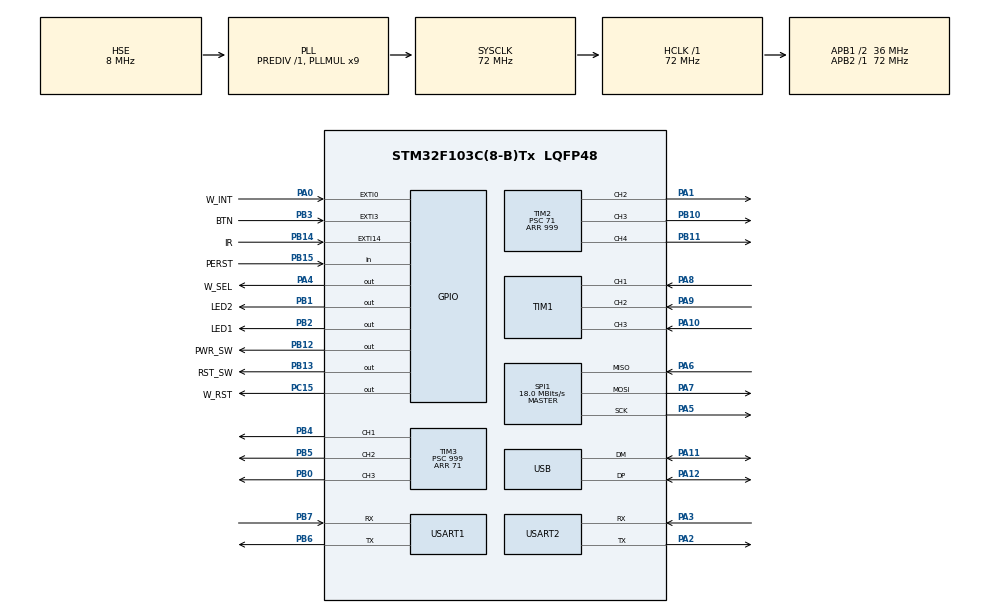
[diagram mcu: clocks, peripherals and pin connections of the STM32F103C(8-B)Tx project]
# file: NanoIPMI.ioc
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ADC1.Channel-0\#ChannelRegularConversion=ADC_CHANNEL_TEMPSENSOR
ADC1.ContinuousConvMode=DISABLE
ADC1.DataAlign=ADC_DATAALIGN_RIGHT
ADC1.DiscontinuousConvMode=DISABLE
ADC1.EnableAnalogWatchDog=false
ADC1.EnableRegularConversion=ENABLE
ADC1.ExternalTrigConv=ADC_SOFTWARE_START
ADC1.InjNumberOfConversion=0
ADC1.NbrOfConversion=1
ADC1.NbrOfConversionFlag=1
ADC1.Rank-0\#ChannelRegularConversion=1
ADC1.SamplingTime-0\#ChannelRegularConversion=ADC_SAMPLETIME_239CYCLES_5
ADC1.ScanConvMode=ADC_SCAN_DISABLE
ADC1.master=1
Mcu.Family=STM32F1
Mcu.Name=STM32F103C(8-B)Tx
Mcu.Package=LQFP48
NVIC.EXTI15_10_IRQn=true\:0\:0\:false\:false\:true
NVIC.EXTI3_IRQn=true\:0\:2\:false\:false\:true
NVIC.PriorityGroup=NVIC_PRIORITYGROUP_0
NVIC.TIM4_IRQn=true\:0\:2\:false\:false\:true
NVIC.USART2_IRQn=true\:0\:1\:false\:false\:true
NVIC.USB_LP_CAN1_RX0_IRQn=true\:0\:0\:false\:false\:true
PA0-WKUP.GPIO_Label=W_INT
PA0-WKUP.GPIO_PuPd=GPIO_PULLDOWN
PA0-WKUP.Signal=GPXTI0
PA1.Signal=S_TIM2_CH2
PA10.GPIO_PuPd=GPIO_PULLUP
PA10.Signal=S_TIM1_CH3
PA11.Mode=Device
PA11.Signal=USB_DM
PA12.Mode=Device
PA12.Signal=USB_DP
PA13.Mode=Serial_Wire
PA13.Signal=SYS_JTMS-SWDIO
PA14.Mode=Serial_Wire
PA14.Signal=SYS_JTCK-SWCLK
PA2.Mode=Asynchronous
PA2.Signal=USART2_TX
PA3.Mode=Asynchronous
PA3.Signal=USART2_RX
PA4.GPIO_Label=W_SEL
PA4.GPIO_Speed=GPIO_SPEED_FREQ_HIGH
PA4.Signal=GPIO_Output
PA5.Mode=Full_Duplex_Master
PA5.Signal=SPI1_SCK
PA6.Mode=Full_Duplex_Master
PA6.Signal=SPI1_MISO
PA7.Mode=Full_Duplex_Master
PA7.Signal=SPI1_MOSI
PA8.GPIO_PuPd=GPIO_PULLUP
PA8.Signal=S_TIM1_CH1
PA9.GPIO_PuPd=GPIO_PULLUP
PA9.Signal=S_TIM1_CH2
PB0.Signal=S_TIM3_CH3
PB1.GPIO_Label=LED2
PB1.GPIO_ModeDefaultOutputPP=GPIO_MODE_OUTPUT_OD
PB1.PinState=GPIO_PIN_SET
PB1.Signal=GPIO_Output
PB10.Signal=S_TIM2_CH3
PB11.Signal=S_TIM2_CH4
PB12.GPIO_Label=PWR_SW
PB12.GPIO_ModeDefaultOutputPP=GPIO_MODE_OUTPUT_OD
PB12.PinState=GPIO_PIN_SET
PB12.Signal=GPIO_Output
PB13.GPIO_Label=RST_SW
PB13.GPIO_ModeDefaultOutputPP=GPIO_MODE_OUTPUT_OD
PB13.PinState=GPIO_PIN_SET
PB13.Signal=GPIO_Output
PB14.GPIO_Label=IR
PB14.GPIO_ModeDefaultEXTI=GPIO_MODE_IT_RISING_FALLING
PB14.GPIO_PuPd=GPIO_PULLUP
PB14.Signal=GPXTI14
PB15.GPIO_Label=PERST
PB15.GPIO_PuPd=GPIO_PULLUP
PB15.Signal=GPIO_Input
PB2.GPIO_Label=LED1
PB2.GPIO_ModeDefaultOutputPP=GPIO_MODE_OUTPUT_OD
PB2.PinState=GPIO_PIN_SET
PB2.Signal=GPIO_Output
PB3.GPIO_Label=BTN
PB3.GPIO_ModeDefaultEXTI=GPIO_MODE_IT_RISING_FALLING
PB3.GPIO_PuPd=GPIO_PULLUP
PB3.Signal=GPXTI3
PB4.Signal=S_TIM3_CH1
PB5.Signal=S_TIM3_CH2
PB6.Mode=Asynchronous
PB6.Signal=USART1_TX
PB7.Mode=Asynchronous
PB7.Signal=USART1_RX
PC15-OSC32_OUT.GPIO_Label=W_RST
PC15-OSC32_OUT.Signal=GPIO_Output
PD0-OSC_IN.Mode=HSE-External-Oscillator
PD0-OSC_IN.Signal=RCC_OSC_IN
PD1-OSC_OUT.Mode=HSE-External-Oscillator
PD1-OSC_OUT.Signal=RCC_OSC_OUT
ProjectManager.HeapSize=0x200
ProjectManager.StackSize=0x400
ProjectManager.TargetToolchain=Makefile
RCC.ADCPresc=RCC_ADCPCLK2_DIV6
RCC.AHBFreq_Value=72000000
RCC.APB1CLKDivider=RCC_HCLK_DIV2
RCC.APB1Freq_Value=36000000
RCC.APB1TimFreq_Value=72000000
RCC.APB2Freq_Value=72000000
RCC.APB2TimFreq_Value=72000000
RCC.HCLKFreq_Value=72000000
RCC.PLLMUL=RCC_PLL_MUL9
RCC.SYSCLKFreq_VALUE=72000000
RCC.SYSCLKSource=RCC_SYSCLKSOURCE_PLLCLK
RCC.USBFreq_Value=48000000
RCC.USBPrescaler=RCC_USBCLKSOURCE_PLL_DIV1_5
SH.S_TIM1_CH1.0=TIM1_CH1,Input_Capture1_from_TI1
SH.S_TIM1_CH2.0=TIM1_CH2,Input_Capture2_from_TI2
SH.S_TIM1_CH3.0=TIM1_CH3,Input_Capture3_from_TI3
SH.S_TIM2_CH2.0=TIM2_CH2,PWM Generation2 CH2
SH.S_TIM2_CH3.0=TIM2_CH3,PWM Generation3 CH3
SH.S_TIM2_CH4.0=TIM2_CH4,PWM Generation4 CH4
SH.S_TIM3_CH1.0=TIM3_CH1,PWM Generation1 CH1
SH.S_TIM3_CH2.0=TIM3_CH2,PWM Generation2 CH2
SH.S_TIM3_CH3.0=TIM3_CH3,PWM Generation3 CH3
SPI1.BaudRatePrescaler=SPI_BAUDRATEPRESCALER_4
SPI1.CalculateBaudRate=18.0 MBits/s
SPI1.Direction=SPI_DIRECTION_2LINES
SPI1.Mode=SPI_MODE_MASTER
SPI1.VirtualType=VM_MASTER
TIM1.Channel-Input_Capture1_from_TI1=TIM_CHANNEL_1
TIM1.Channel-Input_Capture2_from_TI2=TIM_CHANNEL_2
TIM1.Channel-Input_Capture3_from_TI3=TIM_CHANNEL_3
TIM2.Channel-PWM\ Generation2\ CH2=TIM_CHANNEL_2
TIM2.Channel-PWM\ Generation3\ CH3=TIM_CHANNEL_3
TIM2.Channel-PWM\ Generation4\ CH4=TIM_CHANNEL_4
TIM2.Period=999
TIM2.Prescaler=71
TIM2.Pulse-PWM\ Generation2\ CH2=500
TIM2.Pulse-PWM\ Generation3\ CH3=500
TIM2.Pulse-PWM\ Generation4\ CH4=500
TIM3.Channel-PWM\ Generation1\ CH1=TIM_CHANNEL_1
TIM3.Channel-PWM\ Generation2\ CH2=TIM_CHANNEL_2
TIM3.Channel-PWM\ Generation3\ CH3=TIM_CHANNEL_3
TIM3.Period=71
TIM3.Prescaler=999
TIM3.Pulse-PWM\ Generation1\ CH1=80
TIM3.Pulse-PWM\ Generation2\ CH2=80
TIM3.Pulse-PWM\ Generation3\ CH3=80
TIM4.Period=12000
TIM4.Prescaler=71
USART1.VirtualMode=VM_ASYNC
USART2.VirtualMode=VM_ASYNC
USB_DEVICE.CLASS_NAME_FS=CDC
USB_DEVICE.VirtualMode=Cdc
USB_DEVICE.VirtualModeFS=Cdc_FS
VP_ADC1_TempSens_Input.Mode=IN-TempSens
VP_CRC_VS_CRC.Mode=CRC_Activate
VP_TIM1_VS_ClockSourceINT.Mode=Internal
VP_TIM2_VS_ClockSourceINT.Mode=Internal
VP_TIM3_VS_ClockSourceINT.Mode=Internal
VP_TIM4_VS_ClockSourceINT.Mode=Internal
VP_USB_DEVICE_VS_USB_DEVICE_CDC_FS.Mode=CDC_FS
board=NanoIPMI

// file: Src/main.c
/**
  ******************************************************************************
  * File Name          : main.c
  * Description        : Main program body
  ******************************************************************************
  * This notice applies to any and all portions of this file
  * that are not between comment pairs USER CODE BEGIN and
  * USER CODE END. Other portions of this file, whether
  * inserted by the user or by software development tools
  * are owned by their respective copyright owners.
  *
  * Copyright (c) 2017 STMicroelectronics International N.V.
  * All rights reserved.
  *
  * Redistribution and use in source and binary forms, with or without
  * modification, are permitted, provided that the following conditions are met:
  *
  * 1. Redistribution of source code must retain the above copyright notice,
  *    this list of conditions and the following disclaimer.
  * 2. Redistributions in binary form must reproduce the above copyright notice,
  *    this list of conditions and the following disclaimer in the documentation
  *    and/or other materials provided with the distribution.
  * 3. Neither the name of STMicroelectronics nor the names of other
  *    contributors to this software may be used to endorse or promote products
  *    derived from this software without specific written permission.
  * 4. This software, including modifications and/or derivative works of this
  *    software, must execute solely and exclusively on microcontroller or
  *    microprocessor devices manufactured by or for STMicroelectronics.
  * 5. Redistribution and use of this software other than as permitted under
  *    this license is void and will automatically terminate your rights under
  *    this license.
  *
  * THIS SOFTWARE IS PROVIDED BY STMICROELECTRONICS AND CONTRIBUTORS "AS IS"
  * AND ANY EXPRESS, IMPLIED OR STATUTORY WARRANTIES, INCLUDING, BUT NOT
  * LIMITED TO, THE IMPLIED WARRANTIES OF MERCHANTABILITY, FITNESS FOR A
  * PARTICULAR PURPOSE AND NON-INFRINGEMENT OF THIRD PARTY INTELLECTUAL PROPERTY
  * RIGHTS ARE DISCLAIMED TO THE FULLEST EXTENT PERMITTED BY LAW. IN NO EVENT
  * SHALL STMICROELECTRONICS OR CONTRIBUTORS BE LIABLE FOR ANY DIRECT, INDIRECT,
  * INCIDENTAL, SPECIAL, EXEMPLARY, OR CONSEQUENTIAL DAMAGES (INCLUDING, BUT NOT
  * LIMITED TO, PROCUREMENT OF SUBSTITUTE GOODS OR SERVICES; LOSS OF USE, DATA,
  * OR PROFITS; OR BUSINESS INTERRUPTION) HOWEVER CAUSED AND ON ANY THEORY OF
  * LIABILITY, WHETHER IN CONTRACT, STRICT LIABILITY, OR TORT (INCLUDING
  * NEGLIGENCE OR OTHERWISE) ARISING IN ANY WAY OUT OF THE USE OF THIS SOFTWARE,
  * EVEN IF ADVISED OF THE POSSIBILITY OF SUCH DAMAGE.
  *
  ******************************************************************************
  */
#include "main.h"
#include "stm32f1xx_hal.h"
#include "usb_device.h"

/* USER CODE BEGIN Includes */
#include "network.h"
#include "ipmi-app.h"
#include "led.h"
#include "nec_decode.h"
#include "fwupdate.h"
#include "host_uart.h"
#include "stm32f1xx_ll_usart.h"
#include "stm32f1xx_ll_crc.h"
#include "common.h"
/* USER CODE END Includes */

ADC_HandleTypeDef hadc1;

CRC_HandleTypeDef hcrc;

SPI_HandleTypeDef hspi1;

TIM_HandleTypeDef htim1;
TIM_HandleTypeDef htim2;
TIM_HandleTypeDef htim3;
TIM_HandleTypeDef htim4;

UART_HandleTypeDef huart1;
UART_HandleTypeDef huart2;

/* USER CODE BEGIN PV */
/* Private variables ---------------------------------------------------------*/
static uint32_t btnEvent = 0;
extern const volatile uint32_t _usr_app_addr; //defined in linker script
/* USER CODE END PV */

void SystemClock_Config(void);
static void MX_GPIO_Init(void);
static void MX_USART2_UART_Init(void);
static void MX_SPI1_Init(void);
static void MX_USART1_UART_Init(void);
static void MX_ADC1_Init(void);
static void MX_TIM1_Init(void);
static void MX_TIM2_Init(void);
static void MX_TIM3_Init(void);
static void MX_TIM4_Init(void);
static void MX_CRC_Init(void);

void HAL_TIM_MspPostInit(TIM_HandleTypeDef *htim);

/* USER CODE BEGIN PFP */
/* Private function prototypes -----------------------------------------------*/
void ATX_Task(void);

/* USER CODE END PFP */

/* USER CODE BEGIN 0 */
static void btnDetectionTask(void)
{
    btnEvent = 1;
}
uint8_t BTN_GetEvent(void)
{
    uint8_t tmp = btnEvent;
    btnEvent = 0;
    return tmp;
}

void HAL_GPIO_EXTI_Callback(uint16_t GPIO_Pin){
    if(GPIO_Pin == IR_Pin){
        NEC_HandleEXTI();
    }else if(GPIO_Pin == BTN_Pin){
        btnDetectionTask();
    }
}
/* USER CODE END 0 */

int main(void)
{

  /* USER CODE BEGIN 1 */
  SCB->VTOR = &_usr_app_addr;

  /* USER CODE END 1 */

  /* MCU Configuration----------------------------------------------------------*/

  /* Reset of all peripherals, Initializes the Flash interface and the Systick. */
  HAL_Init();

  /* Configure the system clock */
  SystemClock_Config();

  /* Initialize all configured peripherals */
  MX_GPIO_Init();
  MX_USART2_UART_Init();
  MX_USB_DEVICE_Init();
  MX_SPI1_Init();
  MX_USART1_UART_Init();
  MX_ADC1_Init();
  MX_TIM1_Init();
  MX_TIM2_Init();
  MX_TIM3_Init();
  MX_TIM4_Init();
  MX_CRC_Init();

  /* USER CODE BEGIN 2 */
  __enable_irq();
  printf("  \r\n\r\n");
  LOG_INFO("MCU Initialized");
  HAL_ADCEx_Calibration_Start(&hadc1);
  NEC_Init();
  HostUART_Init();
  Network_ChipInit();
  Network_AppInit();

  /*
  for(;;){
    printf("temp=%d\n", ADC_getTemperatureReading());
    HAL_Delay(1000);
  }
  */

  /* USER CODE END 2 */

  /* Infinite loop */
  while (1)
  {

  /* USER CODE BEGIN 3 */
    Network_Task();
    IPMIApp_Task();
    ATX_Task();
    HostUART_Task();
    FWUpdate_Task();
    LED_Task();
  }
  /* USER CODE END 3 */

}

/** System Clock Configuration
*/
void SystemClock_Config(void)
{

  RCC_OscInitTypeDef RCC_OscInitStruct;
  RCC_ClkInitTypeDef RCC_ClkInitStruct;
  RCC_PeriphCLKInitTypeDef PeriphClkInit;

    /**Initializes the CPU, AHB and APB busses clocks
    */
  RCC_OscInitStruct.OscillatorType = RCC_OSCILLATORTYPE_HSE;
  RCC_OscInitStruct.HSEState = RCC_HSE_ON;
  RCC_OscInitStruct.HSEPredivValue = RCC_HSE_PREDIV_DIV1;
  RCC_OscInitStruct.HSIState = RCC_HSI_ON;
  RCC_OscInitStruct.PLL.PLLState = RCC_PLL_ON;
  RCC_OscInitStruct.PLL.PLLSource = RCC_PLLSOURCE_HSE;
  RCC_OscInitStruct.PLL.PLLMUL = RCC_PLL_MUL9;
  if (HAL_RCC_OscConfig(&RCC_OscInitStruct) != HAL_OK)
  {
    _Error_Handler(__FILE__, __LINE__);
  }

    /**Initializes the CPU, AHB and APB busses clocks
    */
  RCC_ClkInitStruct.ClockType = RCC_CLOCKTYPE_HCLK|RCC_CLOCKTYPE_SYSCLK
                              |RCC_CLOCKTYPE_PCLK1|RCC_CLOCKTYPE_PCLK2;
  RCC_ClkInitStruct.SYSCLKSource = RCC_SYSCLKSOURCE_PLLCLK;
  RCC_ClkInitStruct.AHBCLKDivider = RCC_SYSCLK_DIV1;
  RCC_ClkInitStruct.APB1CLKDivider = RCC_HCLK_DIV2;
  RCC_ClkInitStruct.APB2CLKDivider = RCC_HCLK_DIV1;

  if (HAL_RCC_ClockConfig(&RCC_ClkInitStruct, FLASH_LATENCY_2) != HAL_OK)
  {
    _Error_Handler(__FILE__, __LINE__);
  }

  PeriphClkInit.PeriphClockSelection = RCC_PERIPHCLK_ADC|RCC_PERIPHCLK_USB;
  PeriphClkInit.AdcClockSelection = RCC_ADCPCLK2_DIV6;
  PeriphClkInit.UsbClockSelection = RCC_USBCLKSOURCE_PLL_DIV1_5;
  if (HAL_RCCEx_PeriphCLKConfig(&PeriphClkInit) != HAL_OK)
  {
    _Error_Handler(__FILE__, __LINE__);
  }

    /**Configure the Systick interrupt time
    */
  HAL_SYSTICK_Config(HAL_RCC_GetHCLKFreq()/1000);

    /**Configure the Systick
    */
  HAL_SYSTICK_CLKSourceConfig(SYSTICK_CLKSOURCE_HCLK);

  /* SysTick_IRQn interrupt configuration */
  HAL_NVIC_SetPriority(SysTick_IRQn, 0, 0);
}

/* ADC1 init function */
static void MX_ADC1_Init(void)
{

  ADC_ChannelConfTypeDef sConfig;

    /**Common config
    */
  hadc1.Instance = ADC1;
  hadc1.Init.ScanConvMode = ADC_SCAN_DISABLE;
  hadc1.Init.ContinuousConvMode = DISABLE;
  hadc1.Init.DiscontinuousConvMode = DISABLE;
  hadc1.Init.ExternalTrigConv = ADC_SOFTWARE_START;
  hadc1.Init.DataAlign = ADC_DATAALIGN_RIGHT;
  hadc1.Init.NbrOfConversion = 1;
  if (HAL_ADC_Init(&hadc1) != HAL_OK)
  {
    _Error_Handler(__FILE__, __LINE__);
  }

    /**Configure Regular Channel
    */
  sConfig.Channel = ADC_CHANNEL_TEMPSENSOR;
  sConfig.Rank = 1;
  sConfig.SamplingTime = ADC_SAMPLETIME_239CYCLES_5;
  if (HAL_ADC_ConfigChannel(&hadc1, &sConfig) != HAL_OK)
  {
    _Error_Handler(__FILE__, __LINE__);
  }

}

/* CRC init function */
static void MX_CRC_Init(void)
{

  hcrc.Instance = CRC;
  if (HAL_CRC_Init(&hcrc) != HAL_OK)
  {
    _Error_Handler(__FILE__, __LINE__);
  }

}

/* SPI1 init function */
static void MX_SPI1_Init(void)
{

  hspi1.Instance = SPI1;
  hspi1.Init.Mode = SPI_MODE_MASTER;
  hspi1.Init.Direction = SPI_DIRECTION_2LINES;
  hspi1.Init.DataSize = SPI_DATASIZE_8BIT;
  hspi1.Init.CLKPolarity = SPI_POLARITY_LOW;
  hspi1.Init.CLKPhase = SPI_PHASE_1EDGE;
  hspi1.Init.NSS = SPI_NSS_SOFT;
  hspi1.Init.BaudRatePrescaler = SPI_BAUDRATEPRESCALER_4;
  hspi1.Init.FirstBit = SPI_FIRSTBIT_MSB;
  hspi1.Init.TIMode = SPI_TIMODE_DISABLE;
  hspi1.Init.CRCCalculation = SPI_CRCCALCULATION_DISABLE;
  hspi1.Init.CRCPolynomial = 10;
  if (HAL_SPI_Init(&hspi1) != HAL_OK)
  {
    _Error_Handler(__FILE__, __LINE__);
  }

}

/* TIM1 init function */
static void MX_TIM1_Init(void)
{

  TIM_ClockConfigTypeDef sClockSourceConfig;
  TIM_MasterConfigTypeDef sMasterConfig;
  TIM_IC_InitTypeDef sConfigIC;

  htim1.Instance = TIM1;
  htim1.Init.Prescaler = 0;
  htim1.Init.CounterMode = TIM_COUNTERMODE_UP;
  htim1.Init.Period = 0;
  htim1.Init.ClockDivision = TIM_CLOCKDIVISION_DIV1;
  htim1.Init.RepetitionCounter = 0;
  htim1.Init.AutoReloadPreload = TIM_AUTORELOAD_PRELOAD_DISABLE;
  if (HAL_TIM_Base_Init(&htim1) != HAL_OK)
  {
    _Error_Handler(__FILE__, __LINE__);
  }

  sClockSourceConfig.ClockSource = TIM_CLOCKSOURCE_INTERNAL;
  if (HAL_TIM_ConfigClockSource(&htim1, &sClockSourceConfig) != HAL_OK)
  {
    _Error_Handler(__FILE__, __LINE__);
  }

  if (HAL_TIM_IC_Init(&htim1) != HAL_OK)
  {
    _Error_Handler(__FILE__, __LINE__);
  }

  sMasterConfig.MasterOutputTrigger = TIM_TRGO_RESET;
  sMasterConfig.MasterSlaveMode = TIM_MASTERSLAVEMODE_DISABLE;
  if (HAL_TIMEx_MasterConfigSynchronization(&htim1, &sMasterConfig) != HAL_OK)
  {
    _Error_Handler(__FILE__, __LINE__);
  }

  sConfigIC.ICPolarity = TIM_INPUTCHANNELPOLARITY_RISING;
  sConfigIC.ICSelection = TIM_ICSELECTION_DIRECTTI;
  sConfigIC.ICPrescaler = TIM_ICPSC_DIV1;
  sConfigIC.ICFilter = 0;
  if (HAL_TIM_IC_ConfigChannel(&htim1, &sConfigIC, TIM_CHANNEL_1) != HAL_OK)
  {
    _Error_Handler(__FILE__, __LINE__);
  }

  if (HAL_TIM_IC_ConfigChannel(&htim1, &sConfigIC, TIM_CHANNEL_2) != HAL_OK)
  {
    _Error_Handler(__FILE__, __LINE__);
  }

  if (HAL_TIM_IC_ConfigChannel(&htim1, &sConfigIC, TIM_CHANNEL_3) != HAL_OK)
  {
    _Error_Handler(__FILE__, __LINE__);
  }

}

/* TIM2 init function */
static void MX_TIM2_Init(void)
{

  TIM_ClockConfigTypeDef sClockSourceConfig;
  TIM_MasterConfigTypeDef sMasterConfig;
  TIM_OC_InitTypeDef sConfigOC;

  htim2.Instance = TIM2;
  htim2.Init.Prescaler = 71;
  htim2.Init.CounterMode = TIM_COUNTERMODE_UP;
  htim2.Init.Period = 999;
  htim2.Init.ClockDivision = TIM_CLOCKDIVISION_DIV1;
  htim2.Init.AutoReloadPreload = TIM_AUTORELOAD_PRELOAD_DISABLE;
  if (HAL_TIM_Base_Init(&htim2) != HAL_OK)
  {
    _Error_Handler(__FILE__, __LINE__);
  }

  sClockSourceConfig.ClockSource = TIM_CLOCKSOURCE_INTERNAL;
  if (HAL_TIM_ConfigClockSource(&htim2, &sClockSourceConfig) != HAL_OK)
  {
    _Error_Handler(__FILE__, __LINE__);
  }

  if (HAL_TIM_PWM_Init(&htim2) != HAL_OK)
  {
    _Error_Handler(__FILE__, __LINE__);
  }

  sMasterConfig.MasterOutputTrigger = TIM_TRGO_RESET;
  sMasterConfig.MasterSlaveMode = TIM_MASTERSLAVEMODE_DISABLE;
  if (HAL_TIMEx_MasterConfigSynchronization(&htim2, &sMasterConfig) != HAL_OK)
  {
    _Error_Handler(__FILE__, __LINE__);
  }

  sConfigOC.OCMode = TIM_OCMODE_PWM1;
  sConfigOC.Pulse = 500;
  sConfigOC.OCPolarity = TIM_OCPOLARITY_HIGH;
  sConfigOC.OCFastMode = TIM_OCFAST_DISABLE;
  if (HAL_TIM_PWM_ConfigChannel(&htim2, &sConfigOC, TIM_CHANNEL_2) != HAL_OK)
  {
    _Error_Handler(__FILE__, __LINE__);
  }

  if (HAL_TIM_PWM_ConfigChannel(&htim2, &sConfigOC, TIM_CHANNEL_3) != HAL_OK)
  {
    _Error_Handler(__FILE__, __LINE__);
  }

  if (HAL_TIM_PWM_ConfigChannel(&htim2, &sConfigOC, TIM_CHANNEL_4) != HAL_OK)
  {
    _Error_Handler(__FILE__, __LINE__);
  }

  HAL_TIM_MspPostInit(&htim2);

}

/* TIM3 init function */
static void MX_TIM3_Init(void)
{

  TIM_ClockConfigTypeDef sClockSourceConfig;
  TIM_MasterConfigTypeDef sMasterConfig;
  TIM_OC_InitTypeDef sConfigOC;

  htim3.Instance = TIM3;
  htim3.Init.Prescaler = 999;
  htim3.Init.CounterMode = TIM_COUNTERMODE_UP;
  htim3.Init.Period = 71;
  htim3.Init.ClockDivision = TIM_CLOCKDIVISION_DIV1;
  htim3.Init.AutoReloadPreload = TIM_AUTORELOAD_PRELOAD_DISABLE;
  if (HAL_TIM_Base_Init(&htim3) != HAL_OK)
  {
    _Error_Handler(__FILE__, __LINE__);
  }

  sClockSourceConfig.ClockSource = TIM_CLOCKSOURCE_INTERNAL;
  if (HAL_TIM_ConfigClockSource(&htim3, &sClockSourceConfig) != HAL_OK)
  {
    _Error_Handler(__FILE__, __LINE__);
  }

  if (HAL_TIM_PWM_Init(&htim3) != HAL_OK)
  {
    _Error_Handler(__FILE__, __LINE__);
  }

  sMasterConfig.MasterOutputTrigger = TIM_TRGO_RESET;
  sMasterConfig.MasterSlaveMode = TIM_MASTERSLAVEMODE_DISABLE;
  if (HAL_TIMEx_MasterConfigSynchronization(&htim3, &sMasterConfig) != HAL_OK)
  {
    _Error_Handler(__FILE__, __LINE__);
  }

  sConfigOC.OCMode = TIM_OCMODE_PWM1;
  sConfigOC.Pulse = 80;
  sConfigOC.OCPolarity = TIM_OCPOLARITY_HIGH;
  sConfigOC.OCFastMode = TIM_OCFAST_DISABLE;
  if (HAL_TIM_PWM_ConfigChannel(&htim3, &sConfigOC, TIM_CHANNEL_1) != HAL_OK)
  {
    _Error_Handler(__FILE__, __LINE__);
  }

  if (HAL_TIM_PWM_ConfigChannel(&htim3, &sConfigOC, TIM_CHANNEL_2) != HAL_OK)
  {
    _Error_Handler(__FILE__, __LINE__);
  }

  if (HAL_TIM_PWM_ConfigChannel(&htim3, &sConfigOC, TIM_CHANNEL_3) != HAL_OK)
  {
    _Error_Handler(__FILE__, __LINE__);
  }

  HAL_TIM_MspPostInit(&htim3);

}

/* TIM4 init function */
static void MX_TIM4_Init(void)
{

  TIM_ClockConfigTypeDef sClockSourceConfig;
  TIM_MasterConfigTypeDef sMasterConfig;

  htim4.Instance = TIM4;
  htim4.Init.Prescaler = 71;
  htim4.Init.CounterMode = TIM_COUNTERMODE_UP;
  htim4.Init.Period = 12000;
  htim4.Init.ClockDivision = TIM_CLOCKDIVISION_DIV1;
  htim4.Init.AutoReloadPreload = TIM_AUTORELOAD_PRELOAD_DISABLE;
  if (HAL_TIM_Base_Init(&htim4) != HAL_OK)
  {
    _Error_Handler(__FILE__, __LINE__);
  }

  sClockSourceConfig.ClockSource = TIM_CLOCKSOURCE_INTERNAL;
  if (HAL_TIM_ConfigClockSource(&htim4, &sClockSourceConfig) != HAL_OK)
  {
    _Error_Handler(__FILE__, __LINE__);
  }

  sMasterConfig.MasterOutputTrigger = TIM_TRGO_RESET;
  sMasterConfig.MasterSlaveMode = TIM_MASTERSLAVEMODE_DISABLE;
  if (HAL_TIMEx_MasterConfigSynchronization(&htim4, &sMasterConfig) != HAL_OK)
  {
    _Error_Handler(__FILE__, __LINE__);
  }

}

/* USART1 init function */
static void MX_USART1_UART_Init(void)
{

  huart1.Instance = USART1;
  huart1.Init.BaudRate = 115200;
  huart1.Init.WordLength = UART_WORDLENGTH_8B;
  huart1.Init.StopBits = UART_STOPBITS_1;
  huart1.Init.Parity = UART_PARITY_NONE;
  huart1.Init.Mode = UART_MODE_TX_RX;
  huart1.Init.HwFlowCtl = UART_HWCONTROL_NONE;
  huart1.Init.OverSampling = UART_OVERSAMPLING_16;
  if (HAL_UART_Init(&huart1) != HAL_OK)
  {
    _Error_Handler(__FILE__, __LINE__);
  }

}

/* USART2 init function */
static void MX_USART2_UART_Init(void)
{

  huart2.Instance = USART2;
  huart2.Init.BaudRate = 115200;
  huart2.Init.WordLength = UART_WORDLENGTH_8B;
  huart2.Init.StopBits = UART_STOPBITS_1;
  huart2.Init.Parity = UART_PARITY_NONE;
  huart2.Init.Mode = UART_MODE_TX_RX;
  huart2.Init.HwFlowCtl = UART_HWCONTROL_NONE;
  huart2.Init.OverSampling = UART_OVERSAMPLING_16;
  if (HAL_UART_Init(&huart2) != HAL_OK)
  {
    _Error_Handler(__FILE__, __LINE__);
  }

}

/** Configure pins as
        * Analog
        * Input
        * Output
        * EVENT_OUT
        * EXTI
*/
static void MX_GPIO_Init(void)
{

  GPIO_InitTypeDef GPIO_InitStruct;

  /* GPIO Ports Clock Enable */
  __HAL_RCC_GPIOC_CLK_ENABLE();
  __HAL_RCC_GPIOD_CLK_ENABLE();
  __HAL_RCC_GPIOA_CLK_ENABLE();
  __HAL_RCC_GPIOB_CLK_ENABLE();

  /*Configure GPIO pin Output Level */
  HAL_GPIO_WritePin(W_RST_GPIO_Port, W_RST_Pin, GPIO_PIN_RESET);

  /*Configure GPIO pin Output Level */
  HAL_GPIO_WritePin(W_SEL_GPIO_Port, W_SEL_Pin, GPIO_PIN_RESET);

  /*Configure GPIO pin Output Level */
  HAL_GPIO_WritePin(GPIOB, LED2_Pin|LED1_Pin|PWR_SW_Pin|RST_SW_Pin, GPIO_PIN_SET);

  /*Configure GPIO pin : W_RST_Pin */
  GPIO_InitStruct.Pin = W_RST_Pin;
  GPIO_InitStruct.Mode = GPIO_MODE_OUTPUT_PP;
  GPIO_InitStruct.Speed = GPIO_SPEED_FREQ_LOW;
  HAL_GPIO_Init(W_RST_GPIO_Port, &GPIO_InitStruct);

  /*Configure GPIO pin : W_INT_Pin */
  GPIO_InitStruct.Pin = W_INT_Pin;
  GPIO_InitStruct.Mode = GPIO_MODE_IT_RISING;
  GPIO_InitStruct.Pull = GPIO_PULLDOWN;
  HAL_GPIO_Init(W_INT_GPIO_Port, &GPIO_InitStruct);

  /*Configure GPIO pin : W_SEL_Pin */
  GPIO_InitStruct.Pin = W_SEL_Pin;
  GPIO_InitStruct.Mode = GPIO_MODE_OUTPUT_PP;
  GPIO_InitStruct.Speed = GPIO_SPEED_FREQ_HIGH;
  HAL_GPIO_Init(W_SEL_GPIO_Port, &GPIO_InitStruct);

  /*Configure GPIO pins : LED2_Pin LED1_Pin PWR_SW_Pin RST_SW_Pin */
  GPIO_InitStruct.Pin = LED2_Pin|LED1_Pin|PWR_SW_Pin|RST_SW_Pin;
  GPIO_InitStruct.Mode = GPIO_MODE_OUTPUT_OD;
  GPIO_InitStruct.Speed = GPIO_SPEED_FREQ_LOW;
  HAL_GPIO_Init(GPIOB, &GPIO_InitStruct);

  /*Configure GPIO pins : IR_Pin BTN_Pin */
  GPIO_InitStruct.Pin = IR_Pin|BTN_Pin;
  GPIO_InitStruct.Mode = GPIO_MODE_IT_RISING_FALLING;
  GPIO_InitStruct.Pull = GPIO_PULLUP;
  HAL_GPIO_Init(GPIOB, &GPIO_InitStruct);

  /*Configure GPIO pin : PERST_Pin */
  GPIO_InitStruct.Pin = PERST_Pin;
  GPIO_InitStruct.Mode = GPIO_MODE_INPUT;
  GPIO_InitStruct.Pull = GPIO_PULLUP;
  HAL_GPIO_Init(PERST_GPIO_Port, &GPIO_InitStruct);

  /* EXTI interrupt init*/
  HAL_NVIC_SetPriority(EXTI3_IRQn, 0, 2);
  HAL_NVIC_EnableIRQ(EXTI3_IRQn);

  HAL_NVIC_SetPriority(EXTI15_10_IRQn, 0, 0);
  HAL_NVIC_EnableIRQ(EXTI15_10_IRQn);

}

void _Error_Handler(char * file, int line)
{
  while(1)
  {
  }
}

/************************ (C) COPYRIGHT STMicroelectronics *****END OF FILE****/
